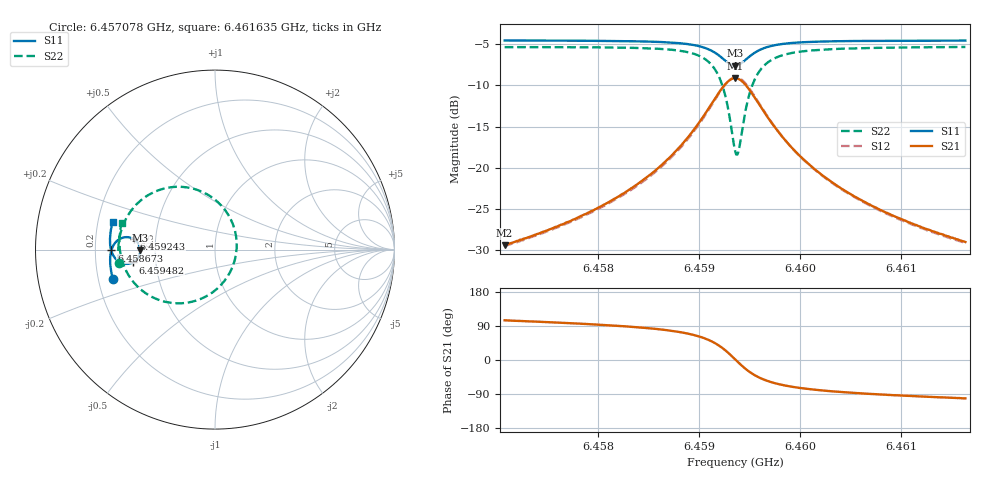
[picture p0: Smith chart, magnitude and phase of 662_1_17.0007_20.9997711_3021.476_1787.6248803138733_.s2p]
#  HZ  S  RI  R  50.00
! Rohde & Schwarz Vector Network Analyzer
! Rohde-Schwarz,ZNB20-2Port,1311601062101988,3.16
! Created: UTC 3/20/2024, 11:21:47 PM
! freq[Hz]  re:S11  im:S11  re:S21  im:S21  re:S12  im:S12  re:S22  im:S22
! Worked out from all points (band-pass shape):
!   401 points, 6.457078 GHz to 6.461635 GHz, reference 50 ohm
!   highest |S21| = -9.13 dB at 6.459357 GHz (marker M1); lowest = -29.4 dB at 6.457078 GHz (marker M2)
!   |S21| within 3 dB of the highest: 6.45913 GHz to 6.459586 GHz (456 kHz wide, 0.00706 % of centre)
!   lowest |S11| = -7.6 dB at 6.459357 GHz (marker M3), VSWR 2.43, Z = 20.6 - j0.231 ohm
!   |S11| at or under -10 dB: nowhere
!   |S22| runs from -18.4 to -5.3 dB; largest |S21 - S12| = 0.014
!   S11 on the Smith chart (normalised r, x): 6.457078 GHz: 0.26, -0.13; 6.458673 GHz: 0.27, -0.00; 6.459243 GHz: 0.37, +0.06; 6.459482 GHz: 0.37, -0.07; 6.461635 GHz: 0.26, +0.13
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6.4570782e9  -0.569 -0.1645  -0.00867 0.0328  -0.00673 0.0328  -0.5343 -0.076
6.4578414e9  -0.5819 -0.0974  -0.00502 0.0511  -0.00242 0.0503  -0.5382 0.014
6.4582743e9  -0.5844 -0.0536  0.00154 0.0713  0.00485 0.0699  -0.5285 0.0837
6.4586047e9  -0.5799 -0.0139  0.0155 0.0996  0.0195 0.0967  -0.5024 0.1592
6.458673e9  -0.5776 -0.00445  0.0209 0.1079  0.025 0.1046  -0.492 0.1792
6.4588667e9  -0.5647 0.0259  0.048 0.1387  0.0521 0.1336  -0.4413 0.2481
6.4590148e9  -0.5416 0.052  0.0938 0.1692  0.0969 0.1621  -0.3567 0.312
6.4591515e9  -0.4975 0.0693  0.1814 0.1851  0.1821 0.1777  -0.1963 0.35
6.4592426e9  -0.4528 0.0589  0.2717 0.1536  0.2717 0.1479  -0.0288 0.2989
6.459311e9  -0.4234 0.0266  0.3328 0.0812  0.3348 0.0762  0.0879 0.1687
6.4593565e9  -0.4162 -0.00464  0.3493 0.0127  0.3531 0.00595  0.1209 0.0401
6.4593907e9  -0.4202 -0.0287  0.3438 -0.0405  0.3477 -0.0494  0.1096 -0.0608
6.4594363e9  -0.4357 -0.0551  0.3149 -0.1013  0.3173 -0.1132  0.0513 -0.1761
6.4594818e9  -0.4581 -0.0719  0.2718 -0.143  0.2714 -0.1564  -0.0356 -0.2525
6.459573e9  -0.5022 -0.0789  0.1856 -0.1746  0.1794 -0.1862  -0.208 -0.2992
6.4596413e9  -0.5268 -0.0715  0.1365 -0.1724  0.1283 -0.1813  -0.3032 -0.2834
6.4597211e9  -0.5467 -0.0581  0.0962 -0.1599  0.0875 -0.1662  -0.3786 -0.248
6.4598805e9  -0.5682 -0.0303  0.0509 -0.1309  0.0431 -0.1339  -0.46 -0.174
6.4601198e9  -0.5808 0.00552  0.0216 -0.0988  0.0156 -0.0993  -0.5077 -0.0899
6.4604729e9  -0.5851 0.0478  0.0053 -0.0706  0.00116 -0.0701  -0.5289 -0.00772
6.460883e9  -0.5829 0.089  -0.00181 -0.0526  -0.00482 -0.0516  -0.5324 0.0587
6.4616349e9  -0.5704 0.1557  -0.00691 -0.0348  -0.00869 -0.0339  -0.5201 0.1481
